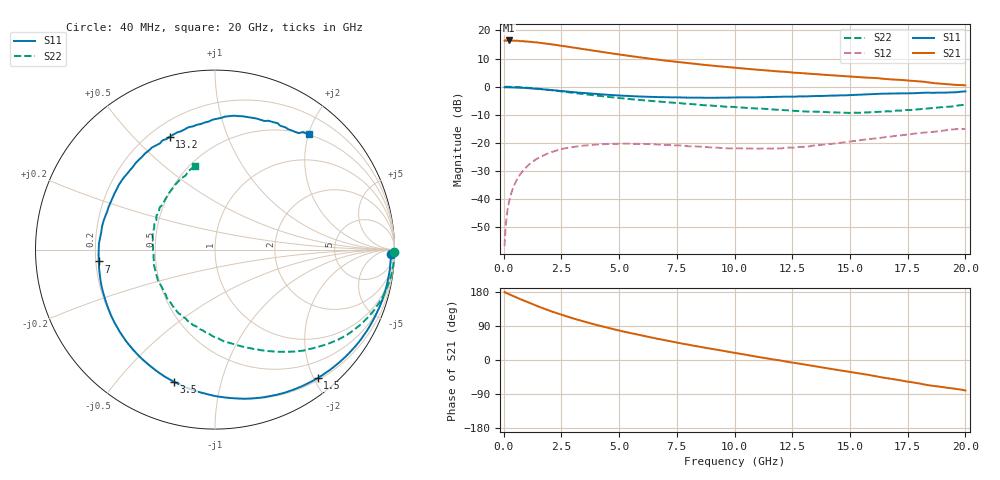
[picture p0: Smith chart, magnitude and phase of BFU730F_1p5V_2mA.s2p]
! Filename:  P:\Prog\Test\Noise\ATS_data\Testdata_Net\Split files Spar\BFU730_2W_B1_Bias2_1.5V_1mA_30mA_D.s2p
! Date/Time: Fri 29/Apr/2011 14:16:38
! BFU730_2W_B1_Bias2_1.5V_1mA_30mA_R.s2p
! MDIF S-parameter v. bias file
! BFU730_2W_B1_1.5V_1mA_30mA
! Date/time Thu Mar 17 13:45:32 2011
! VAR V_out= 1.5000
! VAR I_out= 2.0250
! VAR V_in= 0.7656
! VAR I_in= 0.0055
! Device data file deembeded for feedlines and parallel
! Original file: \Split files Spar\BFU730_2W_B1_Bias2_1.5V_1mA_30mA_R.s2p
! Feed-files: PR003V01_101208_Feed1.s2p, PR003V01_101208_Feed2.s2p
! Parallel-file: PR003V01_101208_Par.s2p
# MHz S MA R 50
!  Freq-MHz  S11-mag  S11-arg  S21-mag  S21-arg  S12-mag  S12-arg  S22-mag  S22-arg
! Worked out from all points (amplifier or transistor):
!   167 points, 40 MHz to 20 GHz, reference 50 ohm
!   highest |S21| = 16.5 dB at 240 MHz (marker M1)
!   |S21| within 3 dB of that: start of sweep to 3.401 GHz
!   unconditionally stable (mu >= 1): 8.676 GHz to 17.21 GHz
!   at 550 MHz: K = 0.02, MSG = 24.9 dB, |S12| = -33.4 dB
!   at 4.2 GHz: K = 0.36, MSG = 16.4 dB, |S12| = -20.4 dB
!   at 20 GHz: K = 0.78, MSG = 7.7 dB, |S12| = -14.9 dB
!   S11 on the Smith chart (normalised r, x): 40 MHz: 39, -50; 1.5 GHz: 0.23, -2.06; 3.5 GHz: 0.20, -0.72; 7 GHz: 0.21, -0.05; 13.2 GHz: 0.28, +0.64; 20 GHz: 0.49, +2.01
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40  0.981 -1.4  6.623 179.2  0.001471 88.9  0.9993 -0.7
100  0.9802 -3.5  6.604 177.3  0.003812 88.0  0.9992 -1.7
240  0.9788 -8.5  6.649 173.5  0.009306 86.0  0.9982 -4.2
800  0.9597 -28.1  6.503 158.6  0.03095 73.3  0.9768 -14.0
1200  0.9364 -41.5  6.281 148.5  0.04488 64.6  0.9492 -20.6
1500  0.9166 -51.4  6.09 141.3  0.05417 58.3  0.9237 -25.3
1900  0.8869 -64.0  5.831 132.0  0.06488 50.7  0.8871 -31.1
2300  0.8548 -75.9  5.516 123.5  0.07397 43.7  0.8484 -36.5
2800  0.8167 -89.7  5.131 113.6  0.08259 35.5  0.7977 -42.4
3400  0.777 -104.9  4.707 102.8  0.08948 27.1  0.7473 -48.8
3500  0.7713 -107.3  4.635 101.1  0.0903 25.8  0.7383 -49.9
4200  0.7334 -123.2  4.192 89.8  0.09508 17.6  0.6836 -56.4
4900  0.7036 -137.8  3.8 79.2  0.09719 10.5  0.637 -62.5
5800  0.6735 -154.6  3.372 66.9  0.09685 2.7  0.5865 -69.8
6800  0.6538 -171.1  2.987 54.5  0.09372 -3.8  0.5417 -77.9
7000  0.6507 -174.2  2.918 52.0  0.09275 -4.9  0.5339 -79.4
8200  0.6424 168.3  2.578 38.0  0.08792 -9.2  0.489 -89.8
10200  0.647 143.5  2.147 16.6  0.08082 -10.2  0.4288 -108.8
13200  0.6774 111.8  1.702 -13.6  0.08696 -4.0  0.362 -145.5
13400  0.6813 110.0  1.687 -15.6  0.09015 -3.8  0.362 -148.8
16800  0.7587 78.3  1.349 -49.7  0.131 -9.9  0.3651 153.6
20000  0.8284 50.8  1.06 -80.4  0.1789 -29.4  0.4795 103.2
